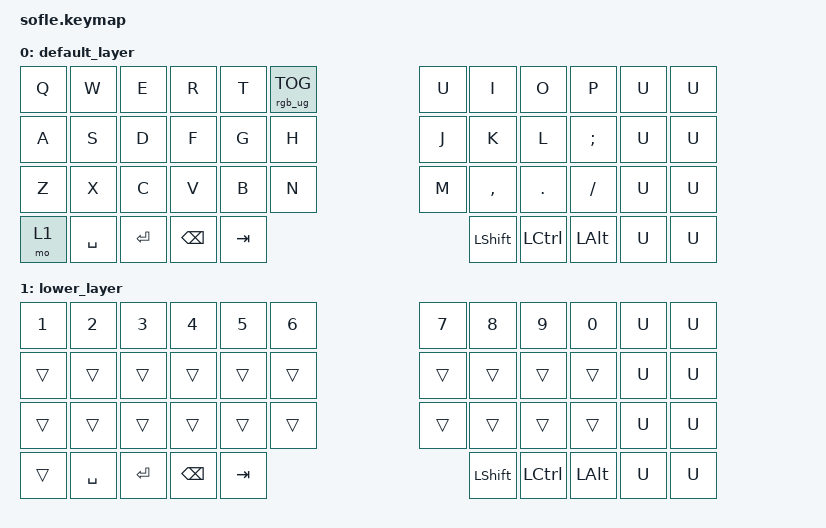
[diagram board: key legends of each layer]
#include <behaviors.dtsi>
#include <dt-bindings/zmk/keys.h>
#include <dt-bindings/zmk/rgb.h>

/ {
    keymap {
        compatible = "zmk,keymap";  // ← ЭТА СТРОКА ОБЯЗАТЕЛЬНА

        default_layer {
            bindings = <
                &kp Q &kp W &kp E &kp R &kp T &rgb_ug RGB_TOG   &kp U &kp I &kp O &kp P &kp U &kp U
                &kp A &kp S &kp D &kp F &kp G &kp H   &kp J &kp K &kp L &kp SEMI &kp U &kp U
                &kp Z &kp X &kp C &kp V &kp B &kp N   &kp M &kp COMMA &kp DOT &kp FSLH &kp U &kp U
                &mo 1 &kp SPACE &kp RET &kp BSPC &kp TAB   &kp LSHFT &kp LCTRL &kp LALT &kp U &kp U
            >;
        };

        lower_layer {
            bindings = <
                &kp N1 &kp N2 &kp N3 &kp N4 &kp N5 &kp N6    &kp N7 &kp N8 &kp N9 &kp N0 &kp U &kp U
                &trans &trans &trans &trans &trans &trans   &trans &trans &trans &trans &kp U &kp U
                &trans &trans &trans &trans &trans &trans   &trans &trans &trans &trans &kp U &kp U
                &trans &kp SPACE &kp RET &kp BSPC &kp TAB   &kp LSHFT &kp LCTRL &kp LALT &kp U &kp U
            >;
        };
    };
};

&led_strip {
    chain-length = <28>;
};
